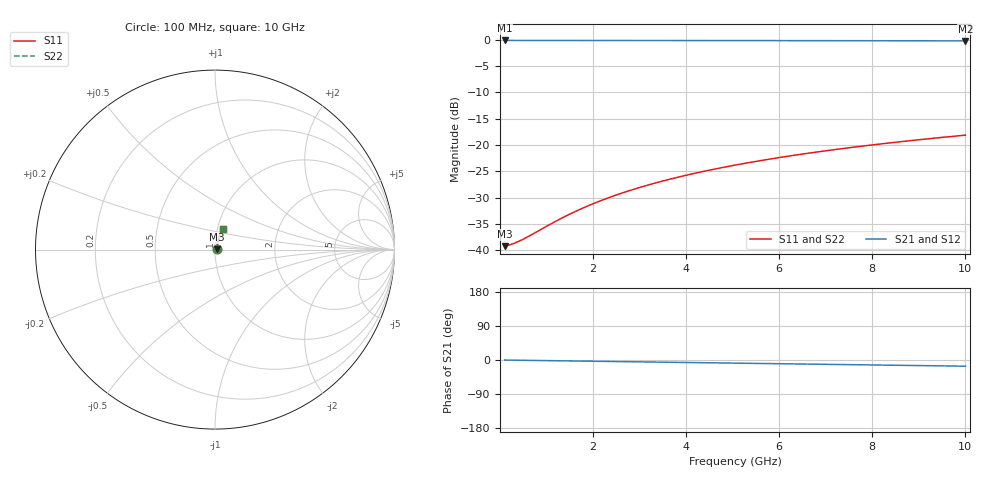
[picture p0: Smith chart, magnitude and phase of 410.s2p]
# Hz S RI R 50.00
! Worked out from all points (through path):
!   100 points, 100 MHz to 10 GHz, reference 50 ohm
!   highest |S21| = -0.09 dB at 100 MHz (marker M1); lowest = -0.2 dB at 10 GHz (marker M2)
!   group delay of S21, straight-line fit = 4.53 ps
!   lowest |S11| = -39.3 dB at 100 MHz (marker M3), VSWR 1.02, Z = 51.1 + j0.126 ohm
!   |S11| at or under -10 dB: start of sweep to end of sweep
!   |S22| runs from -39.3 to -18.1 dB; largest |S21 - S12| = 0
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1e8  0.0108 0.00123  0.9892 -0.00283  0.9892 -0.00283  0.0108 0.00123
2e8  0.0109 0.00246  0.9891 -0.00566  0.9891 -0.00566  0.0109 0.00246
3e8  0.011 0.00369  0.989 -0.00849  0.989 -0.00849  0.011 0.00369
4e8  0.011 0.00492  0.9889 -0.0113  0.9889 -0.0113  0.011 0.00492
5e8  0.0111 0.00614  0.9888 -0.0142  0.9888 -0.0142  0.0111 0.00614
1.3e9  0.0118 0.0159  0.988 -0.0368  0.988 -0.0368  0.0118 0.0159
1.5e9  0.012 0.0184  0.9876 -0.0424  0.9876 -0.0424  0.012 0.0184
1.8e9  0.0124 0.0221  0.9871 -0.0509  0.9871 -0.0509  0.0124 0.0221
2.1e9  0.0129 0.0257  0.9865 -0.0594  0.9865 -0.0594  0.0129 0.0257
2.5e9  0.0136 0.0306  0.9856 -0.0706  0.9856 -0.0706  0.0136 0.0306
2.9e9  0.0144 0.0354  0.9845 -0.0819  0.9845 -0.0819  0.0144 0.0354
3.4e9  0.0155 0.0414  0.9829 -0.0959  0.9829 -0.0959  0.0155 0.0414
3.8e9  0.0166 0.0462  0.9815 -0.1071  0.9815 -0.1071  0.0166 0.0462
4.2e9  0.0177 0.051  0.9799 -0.1183  0.9799 -0.1183  0.0177 0.051
4.6e9  0.019 0.0557  0.9782 -0.1294  0.9782 -0.1294  0.019 0.0557
5.1e9  0.0207 0.0616  0.9758 -0.1433  0.9758 -0.1433  0.0207 0.0616
5.9e9  0.0238 0.0708  0.9716 -0.1654  0.9716 -0.1654  0.0238 0.0708
6.7e9  0.0273 0.0799  0.9668 -0.1873  0.9668 -0.1873  0.0273 0.0799
7.5e9  0.0313 0.0889  0.9614 -0.209  0.9614 -0.209  0.0313 0.0889
8.4e9  0.0361 0.0986  0.9546 -0.2332  0.9546 -0.2332  0.0361 0.0986
9.2e9  0.0409 0.1071  0.948 -0.2544  0.948 -0.2544  0.0409 0.1071
1e10  0.046 0.1153  0.9409 -0.2755  0.9409 -0.2755  0.046 0.1153
